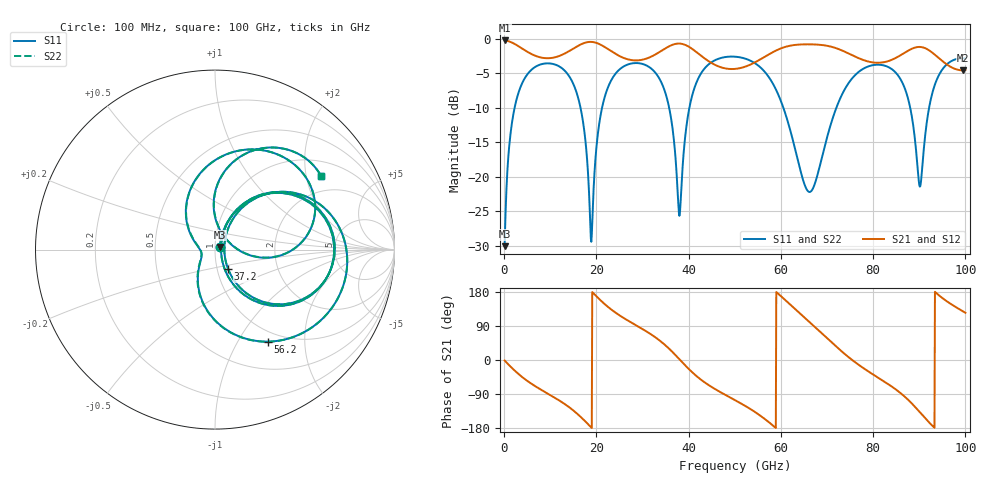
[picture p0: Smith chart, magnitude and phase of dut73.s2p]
! Touchstone file exported from HFSS 2026.1.0
!  File:  C:/ffzhzh/LocalFiles/Ansys_Project_Files/temp_train_TSV_RDL_73_1783449796_50928.aedt
!  Generated:  02:56:55 AM Jul  8, 2026
!  Design:  TSV_RDL
!  Project:  temp_train_TSV_RDL_73_1783449796_50928
! Variables:
!  h_bsmrdl = 2.85um
!  h_ox = 20um
!  h_rdl = 5um
!  h_sub = 94.77um
!  h_tmrdl = 3.5um
!  h_tsv = 94.77um
!  h_via = 3um
!  l_bsmrdl = 560.17um
!  l_sub = 2924.45um
!  l_tmrdl = 194.11um
!  m_sub = 200um
!  pitch = 52.18um
!  r_tsv = 7.13um
!  s_tmrdl = 10um
!  w_bsmrdl = 10.92um
!  w_sub = 500um
!  w_tmrdl = 11.58um
!  x_tsv_center1 = 199.9um
!  x_tsv_center2 = 770.99um
!  x_tsv_center3 = 976.68um
!  x_tsv_center4 = 1547.77um
!  x_tsv_center5 = 1753.46um
!  x_tsv_center6 = 2324.55um
# GHz S MA R 50.000000
! Terminal data exported
! Port[1] = TM_RDL1_1_T1
! Port[2] = TM_RDL5_1_T1
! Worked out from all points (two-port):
!   1000 points, 100 MHz to 100 GHz, reference 50 ohm
!   highest |S21| = -0.24 dB at 100 MHz (marker M1); lowest = -4.6 dB at 99.4 GHz (marker M2)
!   |S21| within 3 dB of the highest: start of sweep to 44.32 GHz; 54.86 GHz to 78.64 GHz (23.78 GHz wide, 35.6 % of centre) (the widest 2 of 3)
!   lowest |S11| = -30.1 dB at 100 MHz (marker M3), VSWR 1.06, Z = 52.8 + j1.59 ohm
!   |S11| at or under -10 dB: 16.56 GHz to 21.22 GHz (4.666 GHz wide, 24.7 % of centre); 35.77 GHz to 40.16 GHz (4.384 GHz wide, 11.5 % of centre); 60.54 GHz to 72.02 GHz (11.48 GHz wide, 17.3 % of centre) (the widest 3 of 5)
!   |S22| runs from -30.1 to -2.6 dB; largest |S21 - S12| = 3.3e-14
!   S11 on the Smith chart (normalised r, x): 100 MHz: 1.06, +0.03; 37.2 GHz: 1.13, -0.25; 56.2 GHz: 0.86, -1.35; 100 GHz: 1.42, +2.43
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0.1  0.03144 28.5  0.9726 -1.3  0.9726 -1.3  0.03144 28.5
! Gamma 0 0 0 0
! Port Impedance 50 0 50 0
1.7  0.247 61.6  0.9387 -21.2  0.9387 -21.2  0.247 61.6
4.8  0.5392 33.8  0.8136 -53.2  0.8136 -53.2  0.5392 33.8
10.7  0.6559 -8.5  0.7303 -97.6  0.7303 -97.6  0.6559 -8.5
16.8  0.2877 -58.1  0.9163 -152.5  0.9163 -152.5  0.2877 -58.1
18.9  0.03383 5.1  0.9494 -178.2  0.9494 -178.2  0.03363 5.0
23  0.4846 41.3  0.8215 135.4  0.8215 135.4  0.4845 41.3
33.4  0.5318 -33.4  0.7914 54.3  0.7914 54.3  0.5318 -33.4
37.2  0.1308 -56.0  0.919 12.2  0.919 12.2  0.1307 -56.1
38.1  0.05453 16.3  0.9231 0.6  0.9231 0.6  0.05424 16.4
42.1  0.5173 38.4  0.7814 -46.4  0.7814 -46.4  0.5172 38.4
50.1  0.7417 -16.5  0.6053 -106.2  0.6053 -106.2  0.7417 -16.6
56.2  0.5911 -60.1  0.7306 -152.8  0.7306 -152.8  0.5911 -60.3
61.2  0.2708 -107.4  0.8784 155.3  0.8784 155.3  0.2707 -107.9
66.7  0.07971 -174.4  0.9112 94.0  0.9112 94.0  0.07991 -176.3
73.5  0.41 104.7  0.8162 19.4  0.8162 19.4  0.4104 104.4
83.4  0.6214 26.8  0.6913 -64.8  0.6913 -64.8  0.6215 26.8
87.5  0.3757 -4.5  0.817 -104.0  0.817 -104.0  0.3759 -4.4
90.1  0.08499 36.7  0.8732 -137.5  0.8732 -137.5  0.08636 36.8
93.5  0.477 80.1  0.7607 178.9  0.7607 178.9  0.4774 80.0
99.4  0.7221 38.5  0.5909 128.9  0.5909 128.9  0.7222 38.5
100  0.7191 35.0  0.5932 124.5  0.5932 124.5  0.7193 35.0
